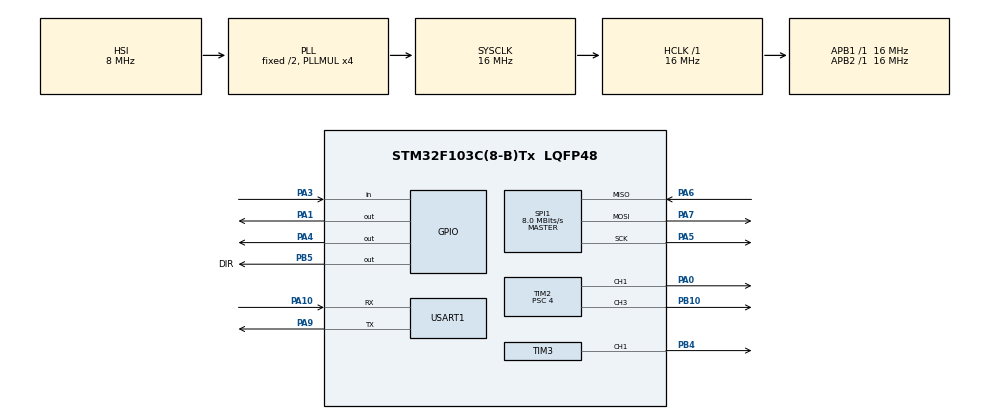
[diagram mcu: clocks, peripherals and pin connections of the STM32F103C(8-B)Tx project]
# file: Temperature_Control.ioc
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Dma.Request0=USART1_RX
Dma.Request1=USART1_TX
Dma.USART1_RX.0.Direction=DMA_PERIPH_TO_MEMORY
Dma.USART1_RX.0.Instance=DMA1_Channel5
Dma.USART1_RX.0.MemDataAlignment=DMA_MDATAALIGN_BYTE
Dma.USART1_RX.0.MemInc=DMA_MINC_ENABLE
Dma.USART1_RX.0.Mode=DMA_NORMAL
Dma.USART1_RX.0.PeriphDataAlignment=DMA_PDATAALIGN_BYTE
Dma.USART1_RX.0.PeriphInc=DMA_PINC_DISABLE
Dma.USART1_RX.0.Priority=DMA_PRIORITY_LOW
Dma.USART1_TX.1.Direction=DMA_MEMORY_TO_PERIPH
Dma.USART1_TX.1.Instance=DMA1_Channel4
Dma.USART1_TX.1.MemDataAlignment=DMA_MDATAALIGN_BYTE
Dma.USART1_TX.1.MemInc=DMA_MINC_ENABLE
Dma.USART1_TX.1.Mode=DMA_NORMAL
Dma.USART1_TX.1.PeriphDataAlignment=DMA_PDATAALIGN_BYTE
Dma.USART1_TX.1.PeriphInc=DMA_PINC_DISABLE
Dma.USART1_TX.1.Priority=DMA_PRIORITY_LOW
Mcu.Family=STM32F1
Mcu.Name=STM32F103C(8-B)Tx
Mcu.Package=LQFP48
NVIC.DMA1_Channel4_IRQn=true\:0\:0\:false\:false\:true\:false\:true\:true
NVIC.DMA1_Channel5_IRQn=true\:0\:0\:false\:false\:true\:false\:true\:true
NVIC.PriorityGroup=NVIC_PRIORITYGROUP_4
NVIC.TIM1_UP_IRQn=true\:2\:0\:true\:false\:true\:true\:true\:true
NVIC.USART1_IRQn=true\:1\:0\:true\:false\:true\:true\:true\:true
PA0-WKUP.Signal=S_TIM2_CH1_ETR
PA1.Signal=GPIO_Output
PA10.Mode=Asynchronous
PA10.Signal=USART1_RX
PA13.Mode=Serial_Wire
PA13.Signal=SYS_JTMS-SWDIO
PA14.Mode=Serial_Wire
PA14.Signal=SYS_JTCK-SWCLK
PA3.Signal=GPIO_Input
PA4.Signal=GPIO_Output
PA5.Mode=Full_Duplex_Master
PA5.Signal=SPI1_SCK
PA6.Mode=Full_Duplex_Master
PA6.Signal=SPI1_MISO
PA7.Mode=Full_Duplex_Master
PA7.Signal=SPI1_MOSI
PA9.Mode=Asynchronous
PA9.Signal=USART1_TX
PB10.Signal=S_TIM2_CH3
PB4.Signal=S_TIM3_CH1
PB5.GPIO_Label=DIR
PB5.Signal=GPIO_Output
ProjectManager.HeapSize=0x200
ProjectManager.StackSize=0x400
ProjectManager.TargetToolchain=MDK-ARM V5
RCC.AHBFreq_Value=16000000
RCC.APB1Freq_Value=16000000
RCC.APB1TimFreq_Value=16000000
RCC.APB2Freq_Value=16000000
RCC.APB2TimFreq_Value=16000000
RCC.HCLKFreq_Value=16000000
RCC.PLLMUL=RCC_PLL_MUL4
RCC.SYSCLKFreq_VALUE=16000000
RCC.SYSCLKSource=RCC_SYSCLKSOURCE_PLLCLK
RCC.USBFreq_Value=16000000
SH.S_TIM2_CH1_ETR.0=TIM2_CH1,PWM Generation1 CH1
SH.S_TIM2_CH3.0=TIM2_CH3,PWM Generation3 CH3
SH.S_TIM3_CH1.0=TIM3_CH1,PWM Generation1 CH1
SPI1.CLKPhase=SPI_PHASE_2EDGE
SPI1.CalculateBaudRate=8.0 MBits/s
SPI1.Direction=SPI_DIRECTION_2LINES
SPI1.Mode=SPI_MODE_MASTER
SPI1.VirtualType=VM_MASTER
TIM1.Period=15999
TIM2.Channel-PWM\ Generation1\ CH1=TIM_CHANNEL_1
TIM2.Channel-PWM\ Generation3\ CH3=TIM_CHANNEL_3
TIM2.Period=3999
TIM2.Prescaler=4
TIM3.Channel-PWM\ Generation1\ CH1=TIM_CHANNEL_1
TIM3.Period=3000
TIM3.Prescaler=160
USART1.VirtualMode=VM_ASYNC
VP_TIM1_VS_ClockSourceINT.Mode=Internal
board=custom

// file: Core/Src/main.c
/* USER CODE BEGIN Header */
/**
  ******************************************************************************
  * @file           : main.c
  * @brief          : Main program body
  ******************************************************************************
  * @attention
  *
  * <h2><center>&copy; Copyright (c) 2022 STMicroelectronics.
  * All rights reserved.</center></h2>
  *
  * This software component is licensed by ST under BSD 3-Clause license,
  * the "License"; You may not use this file except in compliance with the
  * License. You may obtain a copy of the License at:
  *                        opensource.org/licenses/BSD-3-Clause
  *
  ******************************************************************************
  */
/* USER CODE END Header */
#include "main.h"

/* USER CODE BEGIN Includes */
#include "ADS1220.h"
#include "math.h"
#include "stepperRPM.h"
/* USER CODE END Includes */

/* USER CODE BEGIN PTD */
#define PWM_MAX 3999
#define pPID_Parameter_21
#ifdef pPID_Parameter_21
	double pKp = 90, pKd = 15, pKi = 0.17, T = 0.201;
#endif
#define a1 												0.00080069
#define b1												0.00019853
#define c1												0.00000019194
#define a2 												0.00063
#define b2 												0.00022702
#define c2 												0.000000072949
#define SPI_MASTER_DUMMY    			0xFF

/* USER CODE END PTD */

SPI_HandleTypeDef hspi1;

TIM_HandleTypeDef htim1;
TIM_HandleTypeDef htim2;
TIM_HandleTypeDef htim3;

UART_HandleTypeDef huart1;
DMA_HandleTypeDef hdma_usart1_rx;
DMA_HandleTypeDef hdma_usart1_tx;

/* USER CODE BEGIN PV */
//This instance includes: PID and Setpoint changes; Stepper motor speed changes; PC Communication
ADS1220_TypeDef my_ADS1220;
stepMotor_typedef my_Motor;

//Temperature_Typedef my_Temperature;
//These params are used for PID algorithm
double Error_value = 0, pre_Error_value = 0 , pre_pre_Error_value = 0, pre_pre_pre_Error_value = 0, pre_pre_pre_pre_Error_value = 0;
float Set_Temperature = 200, pre_Set_Temperature  = 0, pre_pre_Set_Temperature  = 0, pre_pre_pre_Set_Temperature  = 0;
float Temperature = 0  , pre_Temperature  = 0, pre_pre_Temperature 	 = 0, pre_pre_pre_Temperature  = 0, pre_pre_pre_pre_Temperature  = 0, pre_pre_pre_pre_pre_Temperature  = 0, pre_pre_pre_pre_pre_pre_Temperature  = 0, pre_pre_pre_pre_pre_pre_pre_Temperature = 0;
double out = 0, pre_out = 0, pre_pre_out = 0, pre_pre_pre_out = 0, pre_pre_pre_pre_out = 0, pre_pre_pre_pre_pre_out = 0, pre_pre_pre_pre_pre_pre_out = 0, pre_pre_pre_pre_pre_pre_pre_out = 0;
double out_temp = 0, out_real = 0;
uint16_t out_int;
double P_part = 0, I_part = 0, D_part = 0;
int count = 0;
/* USER CODE END PV */

void SystemClock_Config(void);
static void MX_GPIO_Init(void);
static void MX_DMA_Init(void);
static void MX_USART1_UART_Init(void);
static void MX_SPI1_Init(void);
static void MX_TIM1_Init(void);
static void MX_TIM3_Init(void);
static void MX_TIM2_Init(void);
/* USER CODE BEGIN PFP */
void PID_Temperature(void);
float TemperatureRead(float R);
int32_t ReadData(void);
void Delay(uint32_t wait);
/* USER CODE END PFP */

int main(void)
{

  /* MCU Configuration--------------------------------------------------------*/

  /* Reset of all peripherals, Initializes the Flash interface and the Systick. */
  HAL_Init();

  /* Configure the system clock */
  SystemClock_Config();

  /* Initialize all configured peripherals */
  MX_GPIO_Init();
  MX_DMA_Init();
  MX_USART1_UART_Init();
  MX_SPI1_Init();
  MX_TIM1_Init();
  MX_TIM3_Init();
  MX_TIM2_Init();
  /* USER CODE BEGIN 2 */
	HAL_TIM_PWM_Start(&htim3,TIM_CHANNEL_1);
	HAL_TIM_PWM_Start(&htim2,TIM_CHANNEL_1);
	HAL_TIM_PWM_Start(&htim2,TIM_CHANNEL_3);
	create(&my_Motor);
	//ADS1220 configurations
	my_ADS1220.Config_Reg0 = ReadReg(CONFIG_REG0_ADDRESS,&hspi1);
	my_ADS1220.Config_Reg1 = ReadReg(CONFIG_REG1_ADDRESS,&hspi1);
	my_ADS1220.Config_Reg2 = ReadReg(CONFIG_REG2_ADDRESS,&hspi1);
	my_ADS1220.Config_Reg3 = ReadReg(CONFIG_REG3_ADDRESS,&hspi1);
	Reset(&hspi1);
	HAL_Delay(1000);
	my_ADS1220.Config_Reg0 = ReadReg(CONFIG_REG0_ADDRESS,&hspi1);
	my_ADS1220.Config_Reg1 = ReadReg(CONFIG_REG1_ADDRESS,&hspi1);
	my_ADS1220.Config_Reg2 = ReadReg(CONFIG_REG2_ADDRESS,&hspi1);
	my_ADS1220.Config_Reg3 = ReadReg(CONFIG_REG3_ADDRESS,&hspi1);
	begin(&my_ADS1220,&hspi1);
	start_conv(&hspi1);

	//A4988 Configurations
	HAL_GPIO_WritePin(GPIOB, DIR_Pin,GPIO_PIN_SET);
	__HAL_TIM_SET_COMPARE(&htim3, TIM_CHANNEL_1, 0);

	//74HC245 Configurations
	HAL_GPIO_WritePin(GPIOA, GPIO_PIN_1, GPIO_PIN_SET);
	__HAL_TIM_SET_COMPARE(&htim2, TIM_CHANNEL_1, 0);
	__HAL_TIM_SET_COMPARE(&htim2, TIM_CHANNEL_3, 0);
	HAL_UARTEx_ReceiveToIdle_DMA(&huart1, my_Motor.data_receive_1, RECEIVE_LENGTH); //Initialize UART Received IDLE with PC
	__HAL_DMA_DISABLE_IT(&hdma_usart1_rx, DMA_IT_HT);
	HAL_TIM_Base_Start_IT(&htim1);

  /* USER CODE END 2 */

  /* Infinite loop */
  while (1)
  {

  }
}

void SystemClock_Config(void)
{
  RCC_OscInitTypeDef RCC_OscInitStruct = {0};
  RCC_ClkInitTypeDef RCC_ClkInitStruct = {0};

  /** Initializes the RCC Oscillators according to the specified parameters
  * in the RCC_OscInitTypeDef structure.
  */
  RCC_OscInitStruct.OscillatorType = RCC_OSCILLATORTYPE_HSI;
  RCC_OscInitStruct.HSIState = RCC_HSI_ON;
  RCC_OscInitStruct.HSICalibrationValue = RCC_HSICALIBRATION_DEFAULT;
  RCC_OscInitStruct.PLL.PLLState = RCC_PLL_ON;
  RCC_OscInitStruct.PLL.PLLSource = RCC_PLLSOURCE_HSI_DIV2;
  RCC_OscInitStruct.PLL.PLLMUL = RCC_PLL_MUL4;
  if (HAL_RCC_OscConfig(&RCC_OscInitStruct) != HAL_OK)
  {
    Error_Handler();
  }
  /** Initializes the CPU, AHB and APB buses clocks
  */
  RCC_ClkInitStruct.ClockType = RCC_CLOCKTYPE_HCLK|RCC_CLOCKTYPE_SYSCLK
                              |RCC_CLOCKTYPE_PCLK1|RCC_CLOCKTYPE_PCLK2;
  RCC_ClkInitStruct.SYSCLKSource = RCC_SYSCLKSOURCE_PLLCLK;
  RCC_ClkInitStruct.AHBCLKDivider = RCC_SYSCLK_DIV1;
  RCC_ClkInitStruct.APB1CLKDivider = RCC_HCLK_DIV1;
  RCC_ClkInitStruct.APB2CLKDivider = RCC_HCLK_DIV1;

  if (HAL_RCC_ClockConfig(&RCC_ClkInitStruct, FLASH_LATENCY_0) != HAL_OK)
  {
    Error_Handler();
  }
}

static void MX_SPI1_Init(void)
{

  /* SPI1 parameter configuration*/
  hspi1.Instance = SPI1;
  hspi1.Init.Mode = SPI_MODE_MASTER;
  hspi1.Init.Direction = SPI_DIRECTION_2LINES;
  hspi1.Init.DataSize = SPI_DATASIZE_8BIT;
  hspi1.Init.CLKPolarity = SPI_POLARITY_LOW;
  hspi1.Init.CLKPhase = SPI_PHASE_2EDGE;
  hspi1.Init.NSS = SPI_NSS_SOFT;
  hspi1.Init.BaudRatePrescaler = SPI_BAUDRATEPRESCALER_2;
  hspi1.Init.FirstBit = SPI_FIRSTBIT_MSB;
  hspi1.Init.TIMode = SPI_TIMODE_DISABLE;
  hspi1.Init.CRCCalculation = SPI_CRCCALCULATION_DISABLE;
  hspi1.Init.CRCPolynomial = 10;
  if (HAL_SPI_Init(&hspi1) != HAL_OK)
  {
    Error_Handler();
  }

}

static void MX_TIM1_Init(void)
{

  TIM_ClockConfigTypeDef sClockSourceConfig = {0};
  TIM_MasterConfigTypeDef sMasterConfig = {0};

  htim1.Instance = TIM1;
  htim1.Init.Prescaler = 0;
  htim1.Init.CounterMode = TIM_COUNTERMODE_UP;
  htim1.Init.Period = 15999;
  htim1.Init.ClockDivision = TIM_CLOCKDIVISION_DIV1;
  htim1.Init.RepetitionCounter = 0;
  htim1.Init.AutoReloadPreload = TIM_AUTORELOAD_PRELOAD_DISABLE;
  if (HAL_TIM_Base_Init(&htim1) != HAL_OK)
  {
    Error_Handler();
  }
  sClockSourceConfig.ClockSource = TIM_CLOCKSOURCE_INTERNAL;
  if (HAL_TIM_ConfigClockSource(&htim1, &sClockSourceConfig) != HAL_OK)
  {
    Error_Handler();
  }
  sMasterConfig.MasterOutputTrigger = TIM_TRGO_RESET;
  sMasterConfig.MasterSlaveMode = TIM_MASTERSLAVEMODE_DISABLE;
  if (HAL_TIMEx_MasterConfigSynchronization(&htim1, &sMasterConfig) != HAL_OK)
  {
    Error_Handler();
  }

}

static void MX_TIM2_Init(void)
{

  TIM_MasterConfigTypeDef sMasterConfig = {0};
  TIM_OC_InitTypeDef sConfigOC = {0};

  htim2.Instance = TIM2;
  htim2.Init.Prescaler = 4;
  htim2.Init.CounterMode = TIM_COUNTERMODE_UP;
  htim2.Init.Period = 3999;
  htim2.Init.ClockDivision = TIM_CLOCKDIVISION_DIV1;
  htim2.Init.AutoReloadPreload = TIM_AUTORELOAD_PRELOAD_DISABLE;
  if (HAL_TIM_PWM_Init(&htim2) != HAL_OK)
  {
    Error_Handler();
  }
  sMasterConfig.MasterOutputTrigger = TIM_TRGO_RESET;
  sMasterConfig.MasterSlaveMode = TIM_MASTERSLAVEMODE_DISABLE;
  if (HAL_TIMEx_MasterConfigSynchronization(&htim2, &sMasterConfig) != HAL_OK)
  {
    Error_Handler();
  }
  sConfigOC.OCMode = TIM_OCMODE_PWM1;
  sConfigOC.Pulse = 0;
  sConfigOC.OCPolarity = TIM_OCPOLARITY_HIGH;
  sConfigOC.OCFastMode = TIM_OCFAST_DISABLE;
  if (HAL_TIM_PWM_ConfigChannel(&htim2, &sConfigOC, TIM_CHANNEL_1) != HAL_OK)
  {
    Error_Handler();
  }
  if (HAL_TIM_PWM_ConfigChannel(&htim2, &sConfigOC, TIM_CHANNEL_3) != HAL_OK)
  {
    Error_Handler();
  }
  HAL_TIM_MspPostInit(&htim2);

}

static void MX_TIM3_Init(void)
{

  TIM_MasterConfigTypeDef sMasterConfig = {0};
  TIM_OC_InitTypeDef sConfigOC = {0};

  htim3.Instance = TIM3;
  htim3.Init.Prescaler = 160;
  htim3.Init.CounterMode = TIM_COUNTERMODE_UP;
  htim3.Init.Period = 3000;
  htim3.Init.ClockDivision = TIM_CLOCKDIVISION_DIV1;
  htim3.Init.AutoReloadPreload = TIM_AUTORELOAD_PRELOAD_DISABLE;
  if (HAL_TIM_PWM_Init(&htim3) != HAL_OK)
  {
    Error_Handler();
  }
  sMasterConfig.MasterOutputTrigger = TIM_TRGO_RESET;
  sMasterConfig.MasterSlaveMode = TIM_MASTERSLAVEMODE_DISABLE;
  if (HAL_TIMEx_MasterConfigSynchronization(&htim3, &sMasterConfig) != HAL_OK)
  {
    Error_Handler();
  }
  sConfigOC.OCMode = TIM_OCMODE_PWM1;
  sConfigOC.Pulse = 0;
  sConfigOC.OCPolarity = TIM_OCPOLARITY_HIGH;
  sConfigOC.OCFastMode = TIM_OCFAST_DISABLE;
  if (HAL_TIM_PWM_ConfigChannel(&htim3, &sConfigOC, TIM_CHANNEL_1) != HAL_OK)
  {
    Error_Handler();
  }
  HAL_TIM_MspPostInit(&htim3);

}

static void MX_USART1_UART_Init(void)
{

  huart1.Instance = USART1;
  huart1.Init.BaudRate = 115200;
  huart1.Init.WordLength = UART_WORDLENGTH_8B;
  huart1.Init.StopBits = UART_STOPBITS_1;
  huart1.Init.Parity = UART_PARITY_NONE;
  huart1.Init.Mode = UART_MODE_TX_RX;
  huart1.Init.HwFlowCtl = UART_HWCONTROL_NONE;
  huart1.Init.OverSampling = UART_OVERSAMPLING_16;
  if (HAL_UART_Init(&huart1) != HAL_OK)
  {
    Error_Handler();
  }

}

static void MX_DMA_Init(void)
{

  /* DMA controller clock enable */
  __HAL_RCC_DMA1_CLK_ENABLE();

  /* DMA interrupt init */
  /* DMA1_Channel4_IRQn interrupt configuration */
  HAL_NVIC_SetPriority(DMA1_Channel4_IRQn, 0, 0);
  HAL_NVIC_EnableIRQ(DMA1_Channel4_IRQn);
  /* DMA1_Channel5_IRQn interrupt configuration */
  HAL_NVIC_SetPriority(DMA1_Channel5_IRQn, 0, 0);
  HAL_NVIC_EnableIRQ(DMA1_Channel5_IRQn);

}

static void MX_GPIO_Init(void)
{
  GPIO_InitTypeDef GPIO_InitStruct = {0};

  /* GPIO Ports Clock Enable */
  __HAL_RCC_GPIOA_CLK_ENABLE();
  __HAL_RCC_GPIOB_CLK_ENABLE();

  /*Configure GPIO pin Output Level */
  HAL_GPIO_WritePin(GPIOA, GPIO_PIN_1|GPIO_PIN_4, GPIO_PIN_RESET);

  /*Configure GPIO pin Output Level */
  HAL_GPIO_WritePin(DIR_GPIO_Port, DIR_Pin, GPIO_PIN_RESET);

  /*Configure GPIO pins : PA1 PA4 */
  GPIO_InitStruct.Pin = GPIO_PIN_1|GPIO_PIN_4;
  GPIO_InitStruct.Mode = GPIO_MODE_OUTPUT_PP;
  GPIO_InitStruct.Pull = GPIO_NOPULL;
  GPIO_InitStruct.Speed = GPIO_SPEED_FREQ_LOW;
  HAL_GPIO_Init(GPIOA, &GPIO_InitStruct);

  /*Configure GPIO pin : PA3 */
  GPIO_InitStruct.Pin = GPIO_PIN_3;
  GPIO_InitStruct.Mode = GPIO_MODE_INPUT;
  GPIO_InitStruct.Pull = GPIO_NOPULL;
  HAL_GPIO_Init(GPIOA, &GPIO_InitStruct);

  /*Configure GPIO pin : DIR_Pin */
  GPIO_InitStruct.Pin = DIR_Pin;
  GPIO_InitStruct.Mode = GPIO_MODE_OUTPUT_PP;
  GPIO_InitStruct.Pull = GPIO_NOPULL;
  GPIO_InitStruct.Speed = GPIO_SPEED_FREQ_LOW;
  HAL_GPIO_Init(DIR_GPIO_Port, &GPIO_InitStruct);

}

/* USER CODE BEGIN 4 */
void HAL_TIM_PeriodElapsedCallback(TIM_HandleTypeDef *htim)
{
	readVoltage(&my_ADS1220, &hspi1);
  Temperature = convert(&my_ADS1220);  ;
	if(my_Motor.PID_flag)
	{
		PID_Temperature();
		if(my_Motor.Bed_flag) {if(!my_Motor.lock)__HAL_TIM_SET_COMPARE(&htim2, TIM_CHANNEL_3, out_int);}
		else __HAL_TIM_SET_COMPARE(&htim2,TIM_CHANNEL_1,out_int);
	}
	switch (my_Motor.currentState)
	{
		case IDLE:
		{
			if (my_Motor.currentStatus == COMM_ERROR) response(&my_Motor, Temperature);
			else
			{
				my_Motor.currentStatus = idle(&my_Motor);
				response(&my_Motor, Temperature);
			}
			HAL_UART_Transmit_DMA(&huart1, my_Motor.data_transmitt_1, TRANSMITT_LENGTH_1);
			break;
		}
		case SET_FREQ:
		{
			if (my_Motor.currentStatus == COMM_ERROR) response(&my_Motor, 0);
			else
			{
				//Convert value
				int temp = (int)my_Motor.value[0];
				my_Motor.set_rpm = (float)(temp << 8 |my_Motor.value[1])/100;
				my_Motor.currentStatus = set_speed(&my_Motor, my_Motor.set_rpm, &htim3);
				response(&my_Motor, Temperature);
				my_Motor.currentState = IDLE;
			}
			HAL_UART_Transmit_DMA(&huart1, my_Motor.data_transmitt_1, TRANSMITT_LENGTH_1);
			break;
		}
		case STOP:
		{
			if (my_Motor.currentStatus == COMM_ERROR) response(&my_Motor, Temperature);
			else
			{
				my_Motor.currentStatus = stop(&my_Motor,&htim3);
				response(&my_Motor, Temperature);
				my_Motor.currentState = IDLE;
			}
			HAL_UART_Transmit_DMA(&huart1, my_Motor.data_transmitt_1, TRANSMITT_LENGTH_1);
			break;
		}
		case SET_TEMP:
		{
			if (my_Motor.currentStatus == COMM_ERROR) response(&my_Motor, Temperature);
			else
			{
				Set_Temperature = Sepoint_set(&my_Motor);
				response(&my_Motor, Temperature);
				my_Motor.currentState = IDLE;
			}
			HAL_UART_Transmit_DMA(&huart1, my_Motor.data_transmitt_1, TRANSMITT_LENGTH_1);
			break;
		}
		case SET_P_Params:
		{
			if (my_Motor.currentStatus == COMM_ERROR) response(&my_Motor, Temperature);
			else
			{
				pKp = P_params_set(&my_Motor);
				response(&my_Motor, Temperature);
				my_Motor.currentState = IDLE;
			}
			HAL_UART_Transmit_DMA(&huart1, my_Motor.data_transmitt_1, TRANSMITT_LENGTH_1);
			break;
		}
		case SET_I_Params:
		{
			if (my_Motor.currentStatus == COMM_ERROR) response(&my_Motor, Temperature);
			else
			{
				pKi = I_params_set(&my_Motor);
				response(&my_Motor, Temperature);
				my_Motor.currentState = IDLE;
			}
			HAL_UART_Transmit_DMA(&huart1, my_Motor.data_transmitt_1, TRANSMITT_LENGTH_1);
			break;
		}
		case SET_D_Params:
		{
			if (my_Motor.currentStatus == COMM_ERROR) response(&my_Motor, Temperature);
			else
			{
				pKd = D_params_set(&my_Motor);
				response(&my_Motor, Temperature);
				my_Motor.currentState = IDLE;
			}
			HAL_UART_Transmit_DMA(&huart1, my_Motor.data_transmitt_1, TRANSMITT_LENGTH_1);
			break;
		}
		case BED_HEAT:
		{
			if (my_Motor.currentStatus == COMM_ERROR) response(&my_Motor, Temperature);
			else
			{
				my_Motor.Bed_flag = my_Motor.Bed_flag?false:true;
				//Reset all PID computational values
				out = 0;
				out_temp = 0;
				out_int = 0;
				out = 0;
				P_part = 0;
				I_part = 0;
				D_part = 0;
				pre_pre_Error_value = 0;
				pre_Error_value = 0;
				Error_value = 0;
				pre_out = 0;
				my_Motor.currentStatus = SET_SUCCESS;
				response(&my_Motor, Temperature);
			}
			my_Motor.currentState = IDLE;
			HAL_UART_Transmit_DMA(&huart1, my_Motor.data_transmitt_1, TRANSMITT_LENGTH_1);
			break;
		}
		case LOCK:
		{
			if (my_Motor.currentStatus == COMM_ERROR) response(&my_Motor, Temperature);
			else
			{
				my_Motor.lock = my_Motor.lock?0:1;
				my_Motor.currentStatus = SET_SUCCESS;
				response(&my_Motor, Temperature);
			}
			my_Motor.currentState = IDLE;
			HAL_UART_Transmit_DMA(&huart1, my_Motor.data_transmitt_1, TRANSMITT_LENGTH_1);
			break;
		}
		case PID_TOGGLE:
		{
			if (my_Motor.currentStatus == COMM_ERROR) response(&my_Motor, Temperature);
			else
			{
				if(my_Motor.PID_flag) //Turn off PID Controlling
				{
					my_Motor.PID_flag = false;
					//Reset all PID computational values
					out = 0;
					out_temp = 0;
					out_int = 0;
					out = 0;
					P_part = 0;
					I_part = 0;
					D_part = 0;
					pre_pre_Error_value = 0;
					pre_Error_value = 0;
					Error_value = 0;
					pre_out = 0;
					__HAL_TIM_SET_COMPARE(&htim2, TIM_CHANNEL_1, 0);
					if(!my_Motor.lock) __HAL_TIM_SET_COMPARE(&htim2, TIM_CHANNEL_3, 0);
					my_Motor.currentState = IDLE;
				}
				else  //Turn on PID Controlling
				{
					my_Motor.PID_flag = true;
					my_Motor.currentState = IDLE;
				}
				my_Motor.currentStatus = SET_SUCCESS;
				response(&my_Motor, Temperature);
			}
			HAL_UART_Transmit_DMA(&huart1, my_Motor.data_transmitt_1, TRANSMITT_LENGTH_1);
			break;
		}
	}
	//printf ("%f %f \n",Position,Set_Position);
// HAL_UART_Transmit_DMA(&huart1, transmitt, 2);
			//printf ("%f %f \n",motor_speed1,Set_Frequency);

//		my_Temperature.Temperature = convert(&my_ADS1220);
//		convert(&my_ADS1220);//
//		my_Temperature.Out = PID_Control(&my_Temperature);
//		if(my_ADS1220.Temp > 0)
//		__HAL_TIM_SET_COMPARE(&htim3,TIM_CHANNEL_1,800);
//		__HAL_TIM_SET_COMPARE(&htim3,TIM_CHANNEL_1,my_Temperature.Out);
//		sprintf(transmitt,"%.2f",my_ADS1220.Temp);//my_Temperature.Temperature);//
//		transmitt[5] = '\n';
//		HAL_UART_Transmit_DMA(&huart1, (uint8_t *)transmitt, 6);//transmitarray[2]+4);
}

void HAL_UARTEx_RxEventCallback(UART_HandleTypeDef *huart, uint16_t Size)
{
		my_Motor.data_1_length = Size;
		my_Motor.currentStatus = protocol_decode(&my_Motor);
		HAL_UARTEx_ReceiveToIdle_DMA(&huart1, my_Motor.data_receive_1, RECEIVE_LENGTH); //Renitialize UART Received IDLE
		__HAL_DMA_DISABLE_IT(&hdma_usart1_rx, DMA_IT_HT);
}

void HAL_UART_ErrorCallback(UART_HandleTypeDef *huart)
{
	if (huart == &huart1)
	{
		HAL_UART_DeInit(&huart1);
		HAL_UART_Init(&huart1);
    HAL_UARTEx_ReceiveToIdle_DMA(&huart1, my_Motor.data_receive_1, RECEIVE_LENGTH); //Renitialize UART Received IDLE
		__HAL_DMA_DISABLE_IT(&hdma_usart1_rx, DMA_IT_HT);
	}
}
void PID_Temperature(void)
{

	if(count > 10)
	{
		/*PID Calculation*/
		Error_value = Set_Temperature - Temperature; //gia tri xac din ref - gia tri encoder
//		P_part = (Error_value - pre_Error_value) * pKp; //cac he so trong PID //Kp*e
//		I_part = (Error_value + pre_Error_value) * 0.5 * pKi; //Ki*e/2
//		D_part = pKd/T* (Error_value - (2*pre_Error_value) + pre_pre_Error_value); //Kd *(e -2*e(k-1) + e(k-2))
//		out+=  P_part + I_part + D_part;
		P_part = pKp * Error_value;
		I_part += pKi * Error_value*T;
		D_part = pKd * (Error_value - pre_Error_value)/T;
		out =  P_part + I_part + D_part;
		if (out<0)
		{
			out = 0;
			out_temp = out;
		  out_int = (unsigned)(int)(rint(out)); //lam tron u va chuyen kieu thanh so nguyen
		  out = out_temp;
		  pre_pre_Error_value = pre_Error_value;
		  pre_Error_value = Error_value;
		  pre_out = out;
		}
		else if (out > PWM_MAX)
		{
			 out = PWM_MAX;
			 out_temp = out;
			 out_int = (unsigned)(int)(rint(out)); //lam tron u va chuyen kieu thanh so nguyen
			 out = out_temp;
			 pre_pre_Error_value = pre_Error_value;
			 pre_Error_value = Error_value;
			 pre_out = out;
		}

		// o day ta luu cac bien
		else
		{
			out_int = (unsigned)(int)(rint(out)); //lam tron u va chuyen kieu thanh so nguyen
			//out = out_temp;
			pre_pre_Error_value = pre_Error_value;
			pre_Error_value = Error_value;
			pre_out = out;
		}
	}
	else count++;
}
//int32_t ReadData(void)
//{
//	uint8_t *address = SPI_Buff;
//    if( HAL_GPIO_ReadPin(GPIOA, GPIO_PIN_3)== GPIO_PIN_RESET)             //Wait for DRDY to transition low
//    {
//        HAL_GPIO_WritePin(GPIOA, GPIO_PIN_4, GPIO_PIN_RESET);                         							//Take CS low
//        HAL_Delay(50);
//        for (int i = 0; i < 3; i++)
//        {
//					HAL_SPI_TransmitReceive(&hspi1,  &(data),  address, 1, 100);
//					address++;
//        }
//        HAL_Delay(50);
//        HAL_GPIO_WritePin(GPIOA, GPIO_PIN_4, GPIO_PIN_SET);                  //  Clear CS to high

//        bit24 = SPI_Buff[0];
//        bit24 = (bit24 << 8) | SPI_Buff[1];
//        bit24 = (bit24 << 8) | SPI_Buff[2];                                 // Converting 3 bytes to a 24 bit int

//        bit24= ( bit24 << 8 );
//        mResult32 = ( bit24 >> 8 );                      // Converting 24 bit two's complement to 32 bit two's complement
//    }
//    return mResult32;
//}
//float TemperatureRead(float R)
//{
//	if (R < 6710)  return (1/(a1+b1*log(R)+c1*(log(R)*(log(R))*(log(R)))) - 273);
//	else return (1/(a2+b2*log(R)+c2*(log(R)*(log(R))*(log(R)))) - 273);
//}
/* USER CODE END 4 */

void Error_Handler(void)
{
  __disable_irq();
  while (1)
  {
  }
}

/************************ (C) COPYRIGHT STMicroelectronics *****END OF FILE****/
